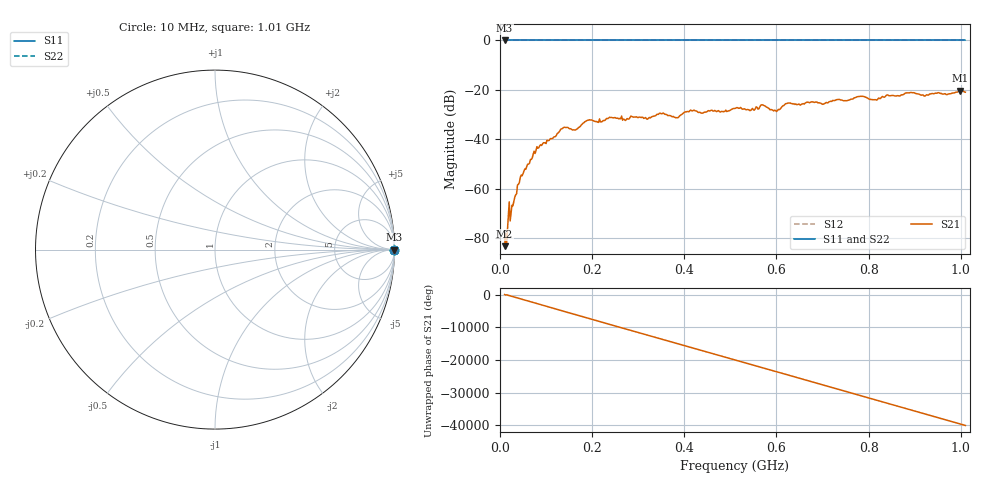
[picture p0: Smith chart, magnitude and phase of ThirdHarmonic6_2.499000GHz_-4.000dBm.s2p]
! 8/17/2025 4:46:44 AM
! C:\ANRITSUVNA\TEMP\TEMP.S2P
! CHANNEL.1
! TR.MEASUREMENT
! RAW.DATA
! RF.CORRECTION.OFF
! AVERAGING.OFF
! IF.BANDWIDTH: 5KHZ
! SWEEPTYPE:  FREQ.SWEEP(Linear)
! Reference Plane Port Info
! PORT:  PORT1  PORT2
! DISTANCE:  0  m  0  m
! TIME:  0  s  0  s
! PHASE.OFFSET:  0  deg.  0  deg.
! LOSS:  0  dB  0  dB
! REF.LOSS:  0  dB  0  dB
! REF.FREQ:  0  Hz  0  Hz
! Power Info
! POWER:  -20  dBm  -20  dBm
! EFF.POWER:  -20  dBm  -20  dBm
! SOURCE.ATTEN:  0  dB  0  dB
! TEST.ATTEN:  0  dB  0  dB
# GHZ S RI R 50.0
! FREQ.GHZ  S11RE  S11IM  S21RE  S21IM  S12RE  S12IM  S22RE  S22IM
!; PortSelection: Port_12
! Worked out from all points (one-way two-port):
!   501 points, 10 MHz to 1.01 GHz, reference 50 ohm
!   highest |S21| = -20.24 dB at 998 MHz (marker M1); lowest = -83.2 dB at 10 MHz (marker M2)
!   lowest |S11| = 0.0 dB at 10 MHz (marker M3)
!   |S11| at or under -10 dB: nowhere
!   |S22| runs from 0.0 to 0.0 dB; largest |S21 - S12| = 1.1
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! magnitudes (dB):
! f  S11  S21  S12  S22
! 10 MHz  0.0  -83.2  0.0  0.0
! 22 MHz  0.0  -72.9  0.0  0.0
! 26 MHz  0.0  -66.6  0.0  0.0
! 42 MHz  0.0  -57.5  0.0  0.0
! 76 MHz  0.0  -45.7  0.0  0.0
! 136 MHz  0.0  -35.5  0.0  0.0
! 162 MHz  0.0  -36.2  0.0  0.0
! 178 MHz  0.0  -33.9  0.0  0.0
! 194 MHz  0.0  -32.1  0.0  0.0
! 322 MHz  0.0  -31.4  0.0  0.0
! 344 MHz  0.0  -29.9  0.0  0.0
! 384 MHz  0.0  -31.2  0.0  0.0
! 416 MHz  0.0  -28.4  0.0  0.0
! 510 MHz  0.0  -27.5  0.0  0.0
! 548 MHz  0.0  -27.5  0.0  0.0
! 570 MHz  0.0  -26.0  0.0  0.0
! 598 MHz  0.0  -28.4  0.0  0.0
! 624 MHz  0.0  -25.4  0.0  0.0
! 678 MHz  0.0  -24.8  0.0  0.0
! 844 MHz  0.0  -22.3  0.0  0.0
! 998 MHz  0.0  -20.2  0.0  0.0
! 1.01 GHz  0.0  -20.9  0.0  0.0
